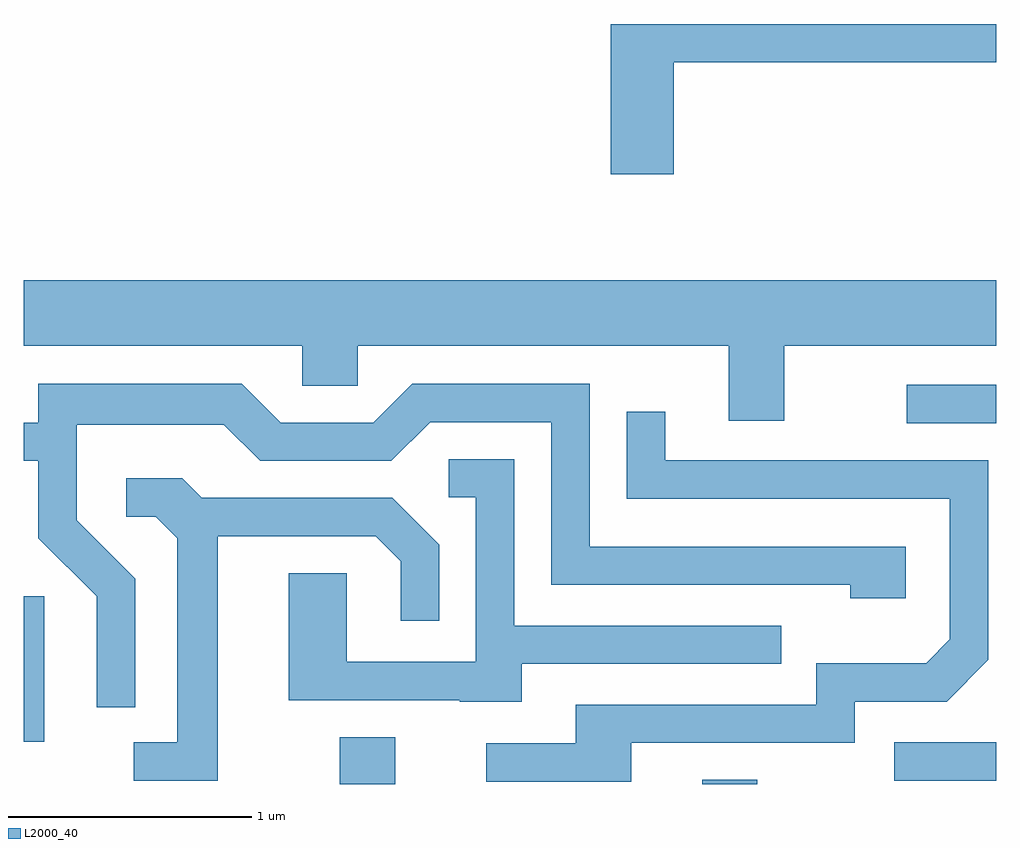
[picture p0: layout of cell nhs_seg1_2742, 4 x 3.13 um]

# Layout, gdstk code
import gdstk
lib = gdstk.Library(unit=1e-6, precision=1e-09)
def R(c, l, rs):  # rectangles x0, y0, x1, y1
    for r in rs: c.add(gdstk.rectangle(r[:2], r[2:], *l))
def P(c, l, *ps):  # polygons
    for p in ps: c.add(gdstk.Polygon(p, *l))
L2000_40 = (2000, 40)

nhs_seg1_2742 = lib.new_cell('nhs_seg1_2742')
R(nhs_seg1_2742, L2000_40, [(268.911,957.712,269.139,957.904), (270.401,957.712,270.629,957.729), (271.193,957.726,271.611,957.884), (267.611,957.886,267.694,958.484), (271.243,959.196,271.611,959.354)])
P(nhs_seg1_2742, L2000_40, [(270.284,960.681),(271.611,960.681),(271.611,960.839),(270.026,960.839),(270.026,960.221),(270.284,960.221)],
  [(270.739,959.516),(271.611,959.516),(271.611,959.784),(267.611,959.784),(267.611,959.516),(268.756,959.516),(268.756,959.351),(268.984,959.351),(268.984,959.516),(270.511,959.516),(270.511,959.206),(270.739,959.206)],
  [(268.069,958.557),(267.829,958.797),(267.829,959.191),(268.434,959.191),(268.584,959.041),(269.122,959.041),(269.282,959.201),(269.781,959.201),(269.781,958.531),(271.011,958.531),(271.011,958.476),(271.239,958.476),(271.239,958.689),(269.939,958.689),(269.939,959.359),(269.209,959.359),(269.049,959.199),(268.667,959.199),(268.507,959.359),(267.671,959.359),(267.671,959.199),(267.611,959.199),(267.611,959.041),(267.671,959.041),(267.671,958.724),(267.911,958.484),(267.911,958.028),(268.069,958.028)],
  [(270.109,957.881),(271.029,957.881),(271.029,958.051),(271.407,958.051),(271.579,958.224),(271.579,959.044),(270.249,959.044),(270.249,959.243),(270.091,959.243),(270.091,958.886),(271.421,958.886),(271.421,958.307),(271.324,958.209),(270.871,958.209),(270.871,958.039),(269.881,958.039),(269.881,957.879),(269.513,957.879),(269.513,957.721),(270.109,957.721)],
  [(269.659,958.206),(270.728,958.206),(270.728,958.364),(269.629,958.364),(269.629,959.049),(269.358,959.049),(269.358,958.891),(269.471,958.891),(269.471,958.214),(268.939,958.214),(268.939,958.579),(268.701,958.579),(268.701,958.056),(269.405,958.056),(269.405,958.051),(269.659,958.051)],
  [(268.409,958.731),(269.059,958.731),(269.161,958.629),(269.161,958.383),(269.319,958.383),(269.319,958.697),(269.127,958.889),(268.342,958.889),(268.262,958.969),(268.033,958.969),(268.033,958.811),(268.154,958.811),(268.241,958.724),(268.241,957.884),(268.063,957.884),(268.063,957.726),(268.409,957.726)])

lib.write_gds('nhs_seg1_2742.gds')
